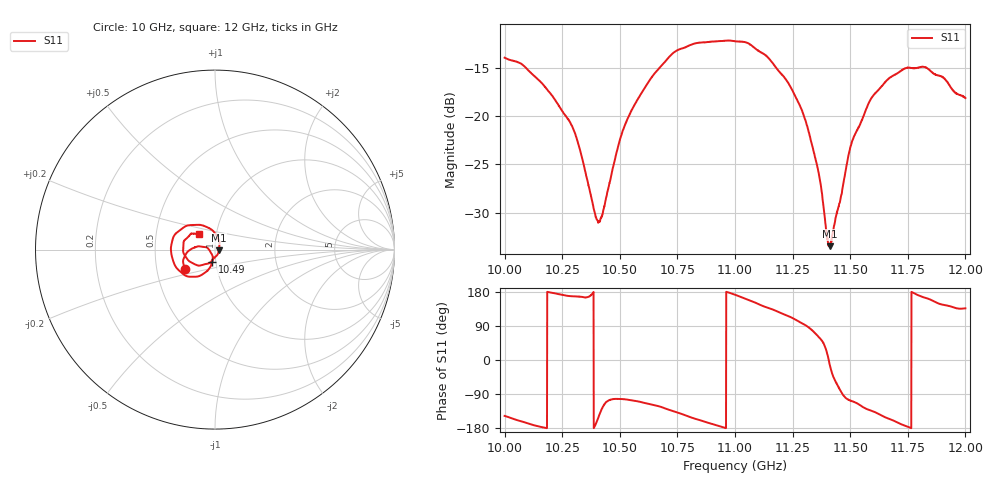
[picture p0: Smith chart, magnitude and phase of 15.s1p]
[Version] 2.0
! Rohde & Schwarz Vector Network Analyzer
! Rohde-Schwarz,ZNL20-2Port,1323001220200009,1.71.1.10-23.02.1.238
! Port Assignments:
! Nominal Port -> Actual Test Port
!  1 -> 1
! Created: GMT 2024-08-27 12:54:02
# Hz S DB R 50
[Number of Ports] 1
! freq[Hz]  S11[mag dB]  S11[ang]
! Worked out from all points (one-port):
!   2001 points, 10 GHz to 12 GHz, reference 50 ohm
!   lowest |S11| = -33.5 dB at 11.41 GHz (marker M1), VSWR 1.04, Z = 52.1 - j0.467 ohm
!   |S11| at or under -10 dB: start of sweep to end of sweep
!   S11 on the Smith chart (normalised r, x): 10 GHz: 0.70, -0.16; 10.49 GHz: 0.96, -0.13; 12 GHz: 0.82, +0.14
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[Number of Frequencies] 28
[Network Data]
1e10  -13.96 -147.6
1.0087e10  -14.87 -164.4
1.025e10  -19.48 171.9
1.0311e10  -22.17 167.6
1.0405e10  -30.96 -155.1
1.0427e10  -29.91 -122.7
1.0493e10  -23.12 -102.7
1.05e10  -22.48 -102.7
1.0546e10  -19.67 -105.9
1.062e10  -16.63 -115.1
1.075e10  -13.18 -138.6
1.0855e10  -12.39 -160.1
1.1e10  -12.26 172.2
1.1136e10  -13.78 139.2
1.125e10  -17.37 110.6
1.1299e10  -19.98 94.3
1.1347e10  -24.24 71.2
1.1371e10  -26.94 55.6
1.14e10  -32.74 17.3
1.1411e10  -33.47 -12.2
1.1458e10  -28.61 -81.4
1.15e10  -23.27 -107.1
1.1597e10  -17.98 -134.9
1.1667e10  -16.12 -154.7
1.175e10  -15.01 -176.3
1.1831e10  -15.01 163.0
1.1899e10  -15.93 146.1
1.2e10  -18.13 136.4
[End]
